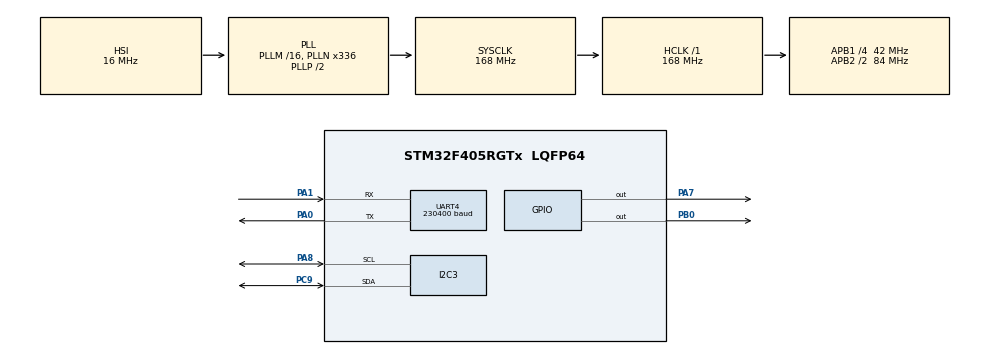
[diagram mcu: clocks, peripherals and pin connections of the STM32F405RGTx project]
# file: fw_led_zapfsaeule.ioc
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Mcu.Family=STM32F4
Mcu.Name=STM32F405RGTx
Mcu.Package=LQFP64
NVIC.PriorityGroup=NVIC_PRIORITYGROUP_4
NVIC.TIM1_BRK_TIM9_IRQn=true\:0\:0\:false\:false\:true\:true\:true\:true
NVIC.TIM1_CC_IRQn=true\:0\:0\:false\:false\:true\:true\:true\:true
NVIC.TIM1_TRG_COM_TIM11_IRQn=true\:0\:0\:false\:false\:true\:true\:true\:true
NVIC.TIM1_UP_TIM10_IRQn=true\:0\:0\:false\:false\:true\:true\:true\:true
NVIC.UART4_IRQn=true\:0\:0\:false\:false\:true\:true\:true\:true
PA0-WKUP.Mode=Asynchronous
PA0-WKUP.Signal=UART4_TX
PA1.Mode=Asynchronous
PA1.Signal=UART4_RX
PA13.Mode=Serial_Wire
PA13.Signal=SYS_JTMS-SWDIO
PA14.Mode=Serial_Wire
PA14.Signal=SYS_JTCK-SWCLK
PA7.Signal=GPIO_Output
PA8.GPIO_Pu=GPIO_NOPULL
PA8.Mode=I2C
PA8.Signal=I2C3_SCL
PB0.Signal=GPIO_Output
PC9.GPIO_Pu=GPIO_NOPULL
PC9.Mode=I2C
PC9.Signal=I2C3_SDA
ProjectManager.HeapSize=0x200
ProjectManager.StackSize=0x400
ProjectManager.TargetToolchain=MDK-ARM V5
RCC.48MHZClocksFreq_Value=84000000
RCC.AHBFreq_Value=168000000
RCC.APB1CLKDivider=RCC_HCLK_DIV4
RCC.APB1Freq_Value=42000000
RCC.APB1TimFreq_Value=84000000
RCC.APB2CLKDivider=RCC_HCLK_DIV2
RCC.APB2Freq_Value=84000000
RCC.APB2TimFreq_Value=168000000
RCC.CortexFreq_Value=168000000
RCC.HCLKFreq_Value=168000000
RCC.HSE_VALUE=25000000
RCC.HSI_VALUE=16000000
RCC.LSE_VALUE=32768
RCC.PLLN=336
RCC.SYSCLKFreq_VALUE=168000000
RCC.SYSCLKSource=RCC_SYSCLKSOURCE_PLLCLK
RCC.VCOOutputFreq_Value=336000000
TIM1.AutoReloadPreload=TIM_AUTORELOAD_PRELOAD_ENABLE
TIM1.Period=1000
TIM1.Prescaler=168
UART4.BaudRate=230400
UART4.VirtualMode=Asynchronous
VP_TIM1_VS_ClockSourceINT.Mode=Internal
board=RGB_Matrix

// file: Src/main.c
/* USER CODE BEGIN Header */
/**
  ******************************************************************************
  * @file           : main.c
  * @brief          : Main program body
  ******************************************************************************
  * @attention
  *
  * Copyright (c) 2025 STMicroelectronics.
  * All rights reserved.
  *
  * This software is licensed under terms that can be found in the LICENSE file
  * in the root directory of this software component.
  * If no LICENSE file comes with this software, it is provided AS-IS.
  *
  ******************************************************************************
  */
/* USER CODE END Header */
#include "main.h"
#include "i2c.h"
#include "tim.h"
#include "usart.h"
#include "gpio.h"

/* USER CODE BEGIN Includes */
#include <stdio.h>
#include "uart_handler.h"
#include "led_matrix.h"
#include "time_handler.h"
#include "light_handler.h"

/* USER CODE END Includes */

void SystemClock_Config(void);

int main(void)
{

  /* MCU Configuration--------------------------------------------------------*/

  /* Reset of all peripherals, Initializes the Flash interface and the Systick. */
  HAL_Init();

  /* Configure the system clock */
  SystemClock_Config();

  /* Initialize all configured peripherals */
  MX_GPIO_Init();
  MX_I2C3_Init();
  MX_TIM1_Init();
  MX_UART4_Init();
  /* USER CODE BEGIN 2 */
	HAL_TIM_Base_Start_IT(&htim1);
	timebase_init();
	UART_InitHandler();
	matrix_init();
	send_identification();

	uint32_t led_timer = get_timebase_1ms();
	uint32_t light_timer = get_timebase_1ms();

  /* USER CODE END 2 */

  /* Infinite loop */
	while (1)
	{

	/* USER CODE BEGIN 3 */
		if ((get_timebase_1ms() - led_timer) > 500)
		{
				HAL_GPIO_TogglePin(GPIOB, GPIO_PIN_0);
				led_timer = get_timebase_1ms();
		}
		if ((get_timebase_1ms() - light_timer) > 10)
		{
				light_handler();
				light_timer = get_timebase_1ms();
		}
	}
  /* USER CODE END 3 */
}

void SystemClock_Config(void)
{
  RCC_OscInitTypeDef RCC_OscInitStruct = {0};
  RCC_ClkInitTypeDef RCC_ClkInitStruct = {0};

  /** Configure the main internal regulator output voltage
  */
  __HAL_RCC_PWR_CLK_ENABLE();
  __HAL_PWR_VOLTAGESCALING_CONFIG(PWR_REGULATOR_VOLTAGE_SCALE1);

  /** Initializes the RCC Oscillators according to the specified parameters
  * in the RCC_OscInitTypeDef structure.
  */
  RCC_OscInitStruct.OscillatorType = RCC_OSCILLATORTYPE_HSI;
  RCC_OscInitStruct.HSIState = RCC_HSI_ON;
  RCC_OscInitStruct.HSICalibrationValue = RCC_HSICALIBRATION_DEFAULT;
  RCC_OscInitStruct.PLL.PLLState = RCC_PLL_ON;
  RCC_OscInitStruct.PLL.PLLSource = RCC_PLLSOURCE_HSI;
  RCC_OscInitStruct.PLL.PLLM = 16;
  RCC_OscInitStruct.PLL.PLLN = 336;
  RCC_OscInitStruct.PLL.PLLP = RCC_PLLP_DIV2;
  RCC_OscInitStruct.PLL.PLLQ = 4;
  if (HAL_RCC_OscConfig(&RCC_OscInitStruct) != HAL_OK)
  {
    Error_Handler();
  }

  /** Initializes the CPU, AHB and APB buses clocks
  */
  RCC_ClkInitStruct.ClockType = RCC_CLOCKTYPE_HCLK|RCC_CLOCKTYPE_SYSCLK
                              |RCC_CLOCKTYPE_PCLK1|RCC_CLOCKTYPE_PCLK2;
  RCC_ClkInitStruct.SYSCLKSource = RCC_SYSCLKSOURCE_PLLCLK;
  RCC_ClkInitStruct.AHBCLKDivider = RCC_SYSCLK_DIV1;
  RCC_ClkInitStruct.APB1CLKDivider = RCC_HCLK_DIV4;
  RCC_ClkInitStruct.APB2CLKDivider = RCC_HCLK_DIV2;

  if (HAL_RCC_ClockConfig(&RCC_ClkInitStruct, FLASH_LATENCY_5) != HAL_OK)
  {
    Error_Handler();
  }
}

void Error_Handler(void)
{
  __disable_irq();
  while (1)
  {
  }
}
